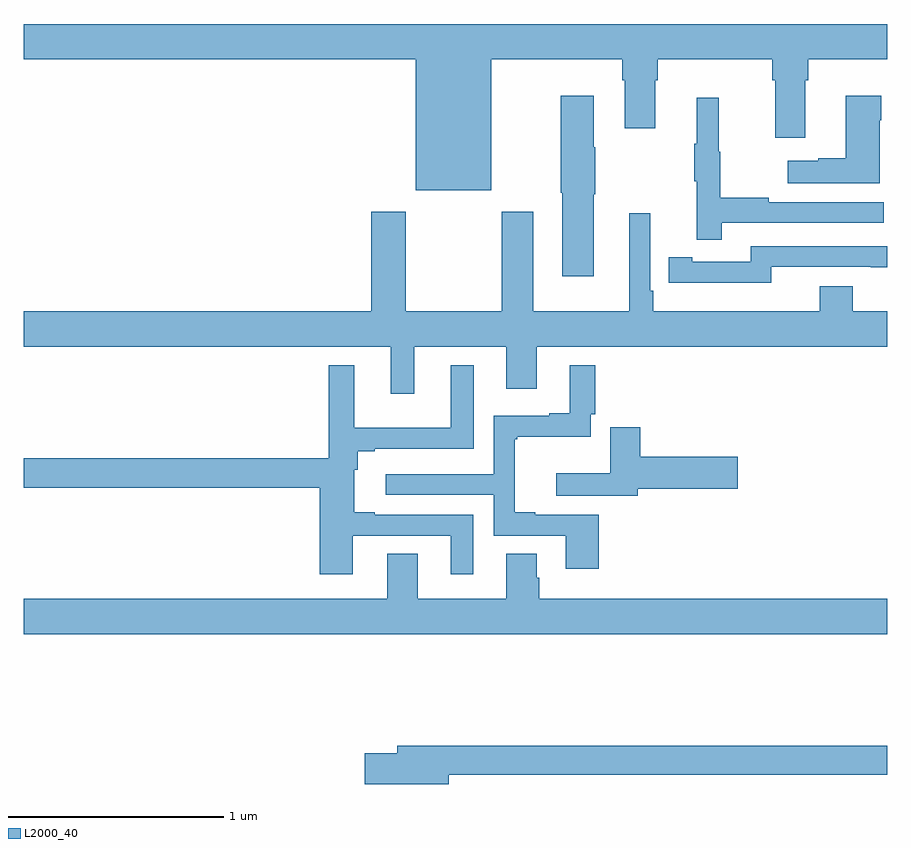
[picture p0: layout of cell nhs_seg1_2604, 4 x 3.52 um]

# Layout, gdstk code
import gdstk
lib = gdstk.Library(unit=1e-6, precision=1e-09)
def P(c, l, *ps):  # polygons
    for p in ps: c.add(gdstk.Polygon(p, *l))
L2000_40 = (2000, 40)

nhs_seg1_2604 = lib.new_cell('nhs_seg1_2604')
P(nhs_seg1_2604, L2000_40, [(255.166,515.768),(255.773,515.768),(255.773,515.672),(255.785,515.672),(255.785,515.448),(255.925,515.448),(255.925,515.672),(255.938,515.672),(255.938,515.768),(256.469,515.768),(256.469,515.672),(256.481,515.672),(256.481,515.406),(256.621,515.406),(256.621,515.672),(256.634,515.672),(256.634,515.768),(257,515.768),(257,515.932),(253,515.932),(253,515.768),(254.816,515.768),(254.816,515.162),(255.166,515.162)],
  [(255.64,515.143),(255.648,515.143),(255.648,515.36),(255.64,515.36),(255.64,515.599),(255.487,515.599),(255.487,515.149),(255.494,515.149),(255.494,514.764),(255.64,514.764)],
  [(256.966,515.486),(256.974,515.486),(256.974,515.599),(256.808,515.599),(256.808,515.309),(256.682,515.309),(256.682,515.299),(256.539,515.299),(256.539,515.195),(256.966,515.195)],
  [(256.235,515.01),(256.984,515.01),(256.984,515.106),(256.451,515.106),(256.451,515.126),(256.228,515.126),(256.228,515.34),(256.22,515.34),(256.22,515.59),(256.118,515.59),(256.118,515.377),(256.107,515.377),(256.107,515.203),(256.118,515.203),(256.118,514.932),(256.235,514.932)],
  [(254.809,514.436),(255.236,514.436),(255.236,514.242),(255.376,514.242),(255.376,514.436),(257,514.436),(257,514.6),(256.841,514.6),(256.841,514.717),(256.688,514.717),(256.688,514.6),(255.917,514.6),(255.917,514.696),(255.903,514.696),(255.903,515.056),(255.806,515.056),(255.806,514.6),(255.361,514.6),(255.361,515.062),(255.214,515.062),(255.214,514.6),(254.769,514.6),(254.769,515.062),(254.609,515.062),(254.609,514.6),(253,514.6),(253,514.436),(254.699,514.436),(254.699,514.218),(254.809,514.218)],
  [(256.464,514.806),(256.924,514.806),(256.924,514.805),(257,514.805),(257,514.902),(256.368,514.902),(256.368,514.83),(256.096,514.83),(256.096,514.85),(255.988,514.85),(255.988,514.734),(256.096,514.734),(256.096,514.733),(256.464,514.733)],
  [(254.524,513.561),(254.978,513.561),(254.978,513.381),(255.082,513.381),(255.082,513.657),(254.626,513.657),(254.626,513.67),(254.53,513.67),(254.53,513.866),(254.548,513.866),(254.548,513.951),(254.626,513.951),(254.626,513.963),(255.085,513.963),(255.085,514.351),(254.978,514.351),(254.978,514.06),(254.53,514.06),(254.53,514.351),(254.412,514.351),(254.412,513.92),(253,513.92),(253,513.784),(254.372,513.784),(254.372,513.381),(254.524,513.381)],
  [(255.665,513.657),(255.37,513.657),(255.37,513.67),(255.275,513.67),(255.275,514.008),(255.286,514.008),(255.286,514.019),(255.627,514.019),(255.627,514.123),(255.647,514.123),(255.647,514.351),(255.53,514.351),(255.53,514.129),(255.434,514.129),(255.434,514.116),(255.177,514.116),(255.177,513.846),(254.676,513.846),(254.676,513.75),(255.177,513.75),(255.177,513.561),(255.512,513.561),(255.512,513.408),(255.665,513.408)],
  [(255.844,513.779),(256.309,513.779),(256.309,513.926),(255.857,513.926),(255.857,514.063),(255.716,514.063),(255.716,513.85),(255.468,513.85),(255.468,513.746),(255.844,513.746)],
  [(257,513.268),(255.389,513.268),(255.389,513.366),(255.376,513.366),(255.376,513.476),(255.236,513.476),(255.236,513.268),(254.824,513.268),(254.824,513.476),(254.684,513.476),(254.684,513.268),(253,513.268),(253,513.104),(257,513.104)],
  [(254.968,512.452),(257,512.452),(257,512.588),(254.729,512.588),(254.729,512.552),(254.58,512.552),(254.58,512.41),(254.968,512.41)])

lib.write_gds('nhs_seg1_2604.gds')
